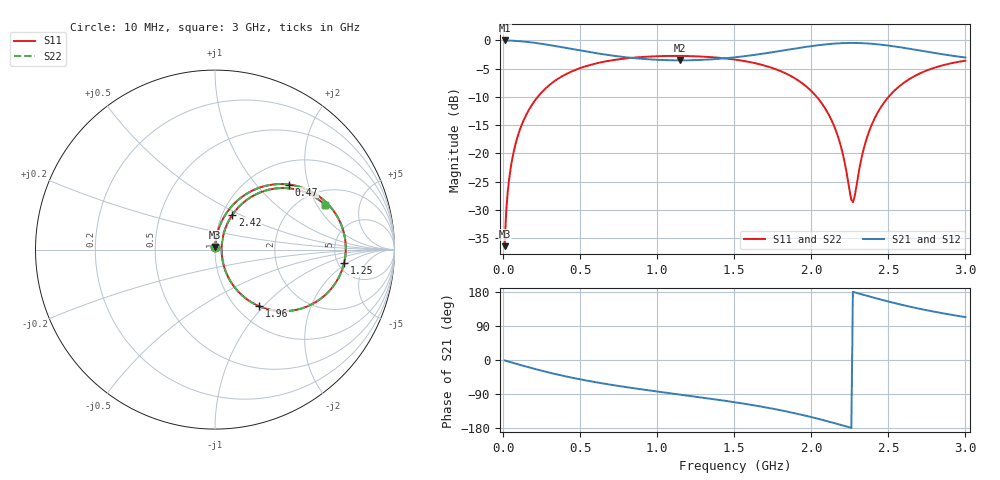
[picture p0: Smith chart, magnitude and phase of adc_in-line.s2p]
!trace-sample ADC_IN trace, U2.1 to J2.7: scikit-rf MLine, w 0.25 mm, t 35 um, h 1.51 mm FR-4 er 4.5 tand 0.02, length 38.9 mm, 50 ohm ports (emc/make_s2p.py)
# MHz S RI R 50.0
!freq ReS11 ImS11 ReS21 ImS21 ReS12 ImS12 ReS22 ImS22
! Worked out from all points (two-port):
!   300 points, 10 MHz to 3 GHz, reference 50 ohm
!   highest |S21| = -0.01 dB at 10 MHz (marker M1); lowest = -3.5 dB at 1.15 GHz (marker M2)
!   |S21| within 3 dB of the highest: start of sweep to 804.1 MHz; 1.5 GHz to 2.994 GHz (1.494 GHz wide, 66.5 % of centre)
!   lowest |S11| = -36.5 dB at 10 MHz (marker M3), VSWR 1.03, Z = 50.1 + j1.5 ohm
!   |S11| at or under -10 dB: start of sweep to 225.2 MHz; 2.035 GHz to 2.502 GHz (466.5 MHz wide, 20.6 % of centre)
!   |S22| runs from -36.5 to -2.7 dB; largest |S21 - S12| = 9.6e-15
!   S11 on the Smith chart (normalised r, x): 10 MHz: 1.00, +0.03; 470 MHz: 1.46, +1.52; 1.25 GHz: 5.65, -1.77; 1.96 GHz: 1.26, -0.94; 2.42 GHz: 1.12, +0.45; 3 GHz: 2.64, +2.35
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10  0.000885 0.015  0.9988 -0.0207  0.9988 -0.0207  0.000885 0.015
20  0.00203 0.03  0.9974 -0.0412  0.9974 -0.0412  0.00203 0.03
40  0.006 0.0598  0.9929 -0.082  0.9929 -0.082  0.006 0.0598
70  0.0163 0.1034  0.9817 -0.1421  0.9817 -0.1421  0.0163 0.1034
120  0.0444 0.1714  0.9516 -0.2374  0.9516 -0.2374  0.0444 0.1714
260  0.1759 0.3111  0.8103 -0.4535  0.8103 -0.4535  0.1759 0.3111
470  0.4118 0.3625  0.5479 -0.6211  0.5479 -0.6211  0.4118 0.3625
510  0.4518 0.3553  0.501 -0.6365  0.501 -0.6365  0.4518 0.3553
1010  0.7198 0.0856  0.0738 -0.6684  0.0738 -0.6684  0.7198 0.0856
1150  0.7284 -0.00827  -0.0154 -0.6655  -0.0154 -0.6655  0.7284 -0.00827
1250  0.7192 -0.0748  -0.079 -0.6644  -0.079 -0.6644  0.7192 -0.0748
1510  0.6321 -0.2354  -0.2645 -0.6584  -0.2645 -0.6584  0.6321 -0.2354
1770  0.4407 -0.3379  -0.512 -0.6079  -0.512 -0.6079  0.4407 -0.3379
1960  0.2443 -0.3148  -0.7309 -0.4794  -0.7309 -0.4794  0.2443 -0.3148
2010  0.1921 -0.2867  -0.7869 -0.4242  -0.7869 -0.4242  0.1921 -0.2867
2160  0.0683 -0.1428  -0.9175 -0.2002  -0.9175 -0.2002  0.0683 -0.1428
2270  0.0369 0.00242  -0.9496 0.00308  -0.9496 0.00308  0.0369 0.00242
2340  0.0506 0.0968  -0.9344 0.1343  -0.9344 0.1343  0.0506 0.0968
2420  0.0959 0.193  -0.8857 0.2727  -0.8857 0.2727  0.0959 0.193
2510  0.1745 0.2751  -0.801 0.4026  -0.801 0.4026  0.1745 0.2751
2720  0.3929 0.3426  -0.5579 0.5831  -0.5579 0.5831  0.3929 0.3426
3000  0.6119 0.2501  -0.278 0.6485  -0.278 0.6485  0.6119 0.2501
